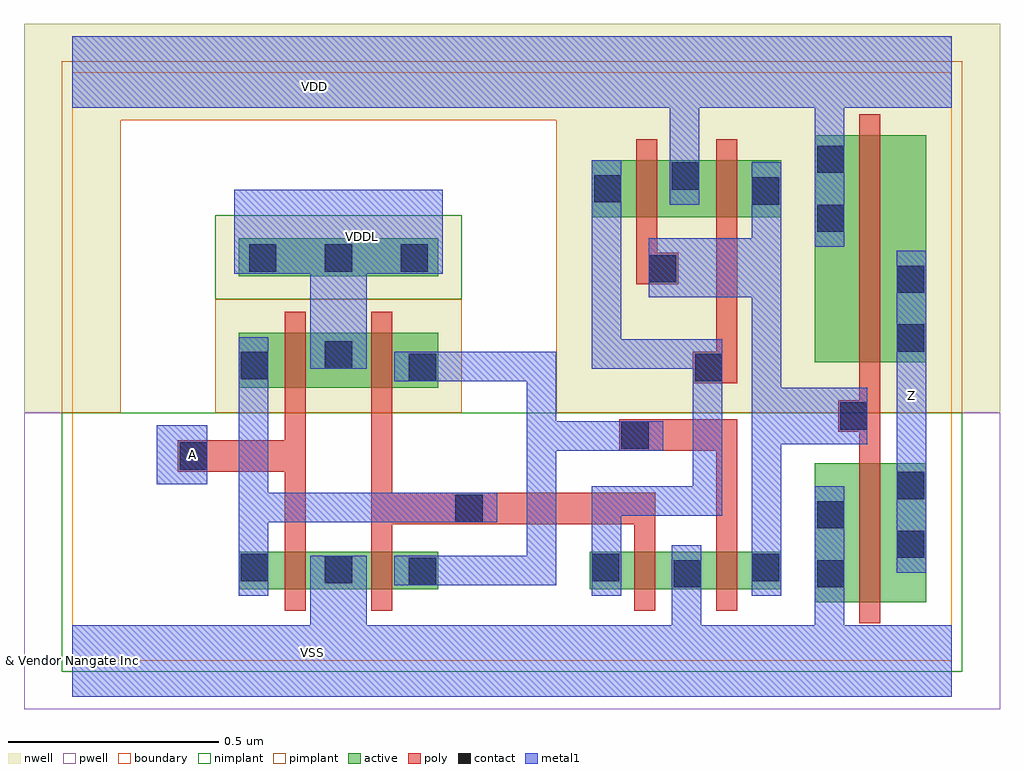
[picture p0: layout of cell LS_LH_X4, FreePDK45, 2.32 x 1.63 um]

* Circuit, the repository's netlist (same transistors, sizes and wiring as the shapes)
* 
* ******************************************************************************
* *                                                                            *
* *                   Copyright (C) 2004-2011, Nangate Inc.                    *
* *                           All rights reserved.                             *
* *                                                                            *
* * Nangate and the Nangate logo are trademarks of Nangate Inc.                *
* *                                                                            *
* * All trademarks, logos, software marks, and trade names (collectively the   *
* * "Marks") in this program are proprietary to Nangate or other respective    *
* * owners that have granted Nangate the right and license to use such Marks.  *
* * You are not permitted to use the Marks without the prior written consent   *
* * of Nangate or such third party that may own the Marks.                     *
* *                                                                            *
* * This file has been provided pursuant to a License Agreement containing     *
* * restrictions on its use. This file contains valuable trade secrets and     *
* * proprietary information of Nangate Inc., and is protected by U.S. and      *
* * international laws and/or treaties.                                        *
* *                                                                            *
* * The copyright notice(s) in this file does not indicate actual or intended  *
* * publication of this file.                                                  *
* *                                                                            *
* *     NGLibraryCreator, v2010.08-HR32-SP3-2010-08-05 - build 1009061800      *
* *                                                                            *
* ******************************************************************************
* 
* 
* Running on server08.nangate.com for user Giancarlo Franciscatto (gfr).
* Local time is now Thu, 6 Jan 2011, 19:45:48.
* Main process id is 3320.
*
********************************************************************************
*                                                                              *
* Cellname:   LS_LH_X4.                                                        *
*                                                                              *
* Technology: NCSU FreePDK 45nm.                                               *
* Format:     Cdl.                                                             *
*                                                                              *
* Written on server08.nangate.com for user Giancarlo Franciscatto (gfr)        *
* at 19:45:48 on Thu, 6 Jan 2011.                                              *
*                                                                              *
********************************************************************************
.SUBCKT LS_LH_X4 A Z VDD VDDL VSS
*.PININFO A:I Z:O VDD:P VDDL:P VSS:G 
*.EQN Z=A
M_i_0 VSS A net_000 VSS NMOS_VTL W=0.090000U L=0.050000U
M_i_7 net_001 net_000 VSS VSS NMOS_VTL W=0.090000U L=0.050000U
M_i_13 VSS net_000 net_002 VSS NMOS_VTL W=0.090000U L=0.050000U
M_i_20 net_003 net_001 VSS VSS NMOS_VTL W=0.090000U L=0.050000U
M_i_26 Z net_003 VSS VSS NMOS_VTL W=0.330000U L=0.050000U
M_i_33 VDDL A net_000 VDDL PMOS_VTL W=0.130000U L=0.050000U
M_i_40 net_001 net_000 VDDL VDDL PMOS_VTL W=0.130000U L=0.050000U
M_i_46 VDD net_003 net_002 VDD PMOS_VTL W=0.135000U L=0.050000U
M_i_52 net_003 net_002 VDD VDD PMOS_VTL W=0.135000U L=0.050000U
M_i_58 Z net_003 VDD VDD PMOS_VTL W=0.540000U L=0.050000U
.ENDS 

********************************************************************************
*
* END
*
********************************************************************************

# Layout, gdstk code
import gdstk
lib = gdstk.Library(unit=1e-6, precision=1e-10)
def R(c, l, rs):  # rectangles x0, y0, x1, y1
    for r in rs: c.add(gdstk.rectangle(r[:2], r[2:], *l))
def A(c, l, x, y, w, h, nx, ny, dx, dy):  # array of equal rectangles
    R(c, l, [(x+i*dx, y+j*dy, x+i*dx+w, y+j*dy+h) for i in range(nx) for j in range(ny)])
def P(c, l, *ps):  # polygons
    for p in ps: c.add(gdstk.Polygon(p, *l))
active = (1, 0)
pwell = (2, 0)
nwell = (3, 0)
nimplant = (4, 0)
pimplant = (5, 0)
poly = (9, 0)
contact = (10, 0)
metal1 = (11, 0)
boundary = (235, 0)

ls_lh_x4 = lib.new_cell('LS_LH_X4')
R(ls_lh_x4, active, [(1.765,0.14,2.03,0.47), (0.395,0.17,0.87,0.26), (1.23,0.17,1.685,0.26), (0.395,0.65,0.87,0.78), (1.765,0.71,2.03,1.25), (0.395,0.915,0.87,1.005), (1.235,1.055,1.685,1.19)])
R(ls_lh_x4, pwell, [(-0.115,-0.115,2.205,0.59)])
R(ls_lh_x4, nwell, [(0.34,0.59,0.925,1.06)])
P(ls_lh_x4, nwell, [(-0.115,0.59),(0.115,0.59),(0.115,1.285),(1.15,1.285),(1.15,0.59),(2.205,0.59),(2.205,1.515),(-0.115,1.515)])
R(ls_lh_x4, nimplant, [(-0.025,-0.025,2.115,0.59), (0.34,0.86,0.925,1.06)])
R(ls_lh_x4, pimplant, [(0.34,0.59,0.925,0.86)])
P(ls_lh_x4, pimplant, [(-0.025,0.59),(0.115,0.59),(0.115,1.285),(1.15,1.285),(1.15,0.59),(2.115,0.59),(2.115,1.425),(-0.025,1.425)])
P(ls_lh_x4, poly, [(1.475,0.66),(1.58,0.66),(1.58,1.24),(1.53,1.24),(1.53,0.735),(1.475,0.735)],
  [(1.82,0.545),(1.87,0.545),(1.87,0.09),(1.92,0.09),(1.92,1.3),(1.87,1.3),(1.87,0.62),(1.82,0.62)],
  [(0.25,0.45),(0.505,0.45),(0.505,0.12),(0.555,0.12),(0.555,0.83),(0.505,0.83),(0.505,0.525),(0.25,0.525)],
  [(0.71,0.12),(0.76,0.12),(0.76,0.325),(1.335,0.325),(1.335,0.12),(1.385,0.12),(1.385,0.4),(0.76,0.4),(0.76,0.83),(0.71,0.83)],
  [(1.34,0.895),(1.44,0.895),(1.44,0.97),(1.39,0.97),(1.39,1.24),(1.34,1.24)],
  [(1.3,0.5),(1.53,0.5),(1.53,0.12),(1.58,0.12),(1.58,0.575),(1.3,0.575)])
A(ls_lh_x4, contact, 0.42, 0.925, 0.065, 0.065, 3, 1, 0.18, 0)
R(ls_lh_x4, contact, [(1.43,0.175,1.495,0.24), (1.77,0.175,1.835,0.24), (0.8,0.18,0.865,0.245), (0.6,0.185,0.665,0.25), (0.4,0.19,0.465,0.255), (1.235,0.19,1.3,0.255), (1.615,0.19,1.68,0.255), (1.96,0.245,2.025,0.31), (1.77,0.315,1.835,0.38), (0.91,0.33,0.975,0.395), (1.96,0.385,2.025,0.45), (0.255,0.455,0.32,0.52), (1.305,0.505,1.37,0.57), (1.825,0.55,1.89,0.615), (0.8,0.665,0.865,0.73), (1.48,0.665,1.545,0.73), (0.4,0.67,0.465,0.735), (0.6,0.695,0.665,0.76), (1.96,0.735,2.025,0.8), (1.96,0.875,2.025,0.94), (1.37,0.9,1.435,0.965), (1.77,1.02,1.835,1.085), (1.615,1.085,1.68,1.15), (1.24,1.09,1.305,1.155), (1.425,1.12,1.49,1.185), (1.77,1.16,1.835,1.225)])
R(ls_lh_x4, metal1, [(1.96,0.21,2.03,0.975), (0.2,0.42,0.32,0.56)])
P(ls_lh_x4, metal1, [(0.385,0.92),(0.565,0.92),(0.565,0.695),(0.7,0.695),(0.7,0.92),(0.88,0.92),(0.88,1.12),(0.385,1.12)],
  [(0.395,0.155),(0.465,0.155),(0.465,0.33),(1.01,0.33),(1.01,0.4),(0.465,0.4),(0.465,0.77),(0.395,0.77)],
  [(0.765,0.665),(1.08,0.665),(1.08,0.25),(0.765,0.25),(0.765,0.18),(1.15,0.18),(1.15,0.5),(1.405,0.5),(1.405,0.57),(1.15,0.57),(1.15,0.735),(0.765,0.735)],
  [(1.235,0.695),(1.475,0.695),(1.475,0.415),(1.235,0.415),(1.235,0.155),(1.305,0.155),(1.305,0.345),(1.545,0.345),(1.545,0.765),(1.305,0.765),(1.305,1.19),(1.235,1.19)],
  [(1.37,0.865),(1.615,0.865),(1.615,0.155),(1.685,0.155),(1.685,0.515),(1.89,0.515),(1.89,0.65),(1.685,0.65),(1.685,1.185),(1.615,1.185),(1.615,1.005),(1.37,1.005)],
  [(0,-0.085),(2.09,-0.085),(2.09,0.085),(1.835,0.085),(1.835,0.415),(1.765,0.415),(1.765,0.085),(1.495,0.085),(1.495,0.275),(1.425,0.275),(1.425,0.085),(0.7,0.085),(0.7,0.25),(0.565,0.25),(0.565,0.085),(0,0.085)],
  [(0,1.315),(1.42,1.315),(1.42,1.085),(1.49,1.085),(1.49,1.315),(1.765,1.315),(1.765,0.985),(1.835,0.985),(1.835,1.315),(2.09,1.315),(2.09,1.485),(0,1.485)])
R(ls_lh_x4, boundary, [(0,0,2.09,1.4)])
ls_lh_x4.add(gdstk.Label('VDDL', (0.69,1.01), layer=11, texttype=0))
ls_lh_x4.add(gdstk.Label('A', (0.285,0.49), layer=11, texttype=0))
ls_lh_x4.add(gdstk.Label('VSS', (0.57,0.02), layer=11, texttype=0))
ls_lh_x4.add(gdstk.Label('VDD', (0.575,1.365), layer=11, texttype=0))
ls_lh_x4.add(gdstk.Label('Z', (1.995,0.63), layer=11, texttype=0))
ls_lh_x4.add(gdstk.Label('& Vendor Nangate Inc', (0,0), layer=63, texttype=63))
ls_lh_x4.add(gdstk.Label('& Product Open Cell Library', (0,0), layer=63, texttype=63))
ls_lh_x4.add(gdstk.Label('& Version 2010_12', (0,0), layer=63, texttype=63))
ls_lh_x4.add(gdstk.Label('& Instance LS_LH_X4', (0,0), layer=63, texttype=63))

lib.write_gds('LS_LH_X4.gds')
